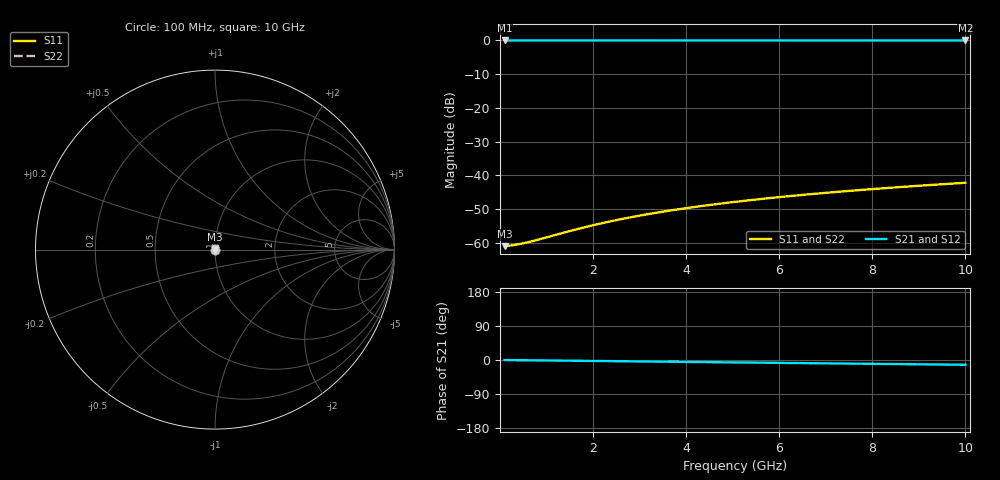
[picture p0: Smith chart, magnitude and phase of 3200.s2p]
# Hz S RI R 50.00
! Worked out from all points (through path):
!   100 points, 100 MHz to 10 GHz, reference 50 ohm
!   highest |S21| = -0.01 dB at 100 MHz (marker M1); lowest = 0.0 dB at 10 GHz (marker M2)
!   group delay of S21, straight-line fit = 3.51 ps
!   lowest |S11| = -61.0 dB at 100 MHz (marker M3), VSWR 1.00, Z = 50.1 + j0.00771 ohm
!   |S11| at or under -10 dB: start of sweep to end of sweep
!   |S22| runs from -61.0 to -42.2 dB; largest |S21 - S12| = 0
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1e8  0.000886 7.7e-05  0.9991 -0.00219  0.9991 -0.00219  0.000886 7.7e-05
2e8  0.000892 0.000154  0.9991 -0.00438  0.9991 -0.00438  0.000892 0.000154
3e8  0.000896 0.000231  0.9991 -0.00657  0.9991 -0.00657  0.000896 0.000231
4e8  0.0009 0.000308  0.9991 -0.00876  0.9991 -0.00876  0.0009 0.000308
6e8  0.000907 0.000462  0.999 -0.0131  0.999 -0.0131  0.000907 0.000462
8e8  0.000914 0.000615  0.9989 -0.0175  0.9989 -0.0175  0.000914 0.000615
1.4e9  0.000942 0.00107  0.9986 -0.0307  0.9986 -0.0307  0.000942 0.00107
1.8e9  0.000966 0.00138  0.9983 -0.0394  0.9983 -0.0394  0.000966 0.00138
2.2e9  0.000994 0.00168  0.9979 -0.0482  0.9979 -0.0482  0.000994 0.00168
2.6e9  0.00103 0.00199  0.9974 -0.0569  0.9974 -0.0569  0.00103 0.00199
3e9  0.00107 0.00229  0.9969 -0.0657  0.9969 -0.0657  0.00107 0.00229
3.4e9  0.00111 0.00259  0.9962 -0.0745  0.9962 -0.0745  0.00111 0.00259
3.8e9  0.00116 0.00288  0.9955 -0.0832  0.9955 -0.0832  0.00116 0.00288
4.2e9  0.00121 0.00318  0.9948 -0.092  0.9948 -0.092  0.00121 0.00318
4.6e9  0.00127 0.00348  0.9939 -0.1007  0.9939 -0.1007  0.00127 0.00348
5.1e9  0.00135 0.00384  0.9927 -0.1117  0.9927 -0.1117  0.00135 0.00384
5.9e9  0.0015 0.00442  0.9906 -0.1291  0.9906 -0.1291  0.0015 0.00442
6.7e9  0.00167 0.005  0.9881 -0.1466  0.9881 -0.1466  0.00167 0.005
7.5e9  0.00185 0.00557  0.9854 -0.164  0.9854 -0.164  0.00185 0.00557
8.4e9  0.00209 0.0062  0.9819 -0.1836  0.9819 -0.1836  0.00209 0.0062
9.2e9  0.00232 0.00676  0.9784 -0.201  0.9784 -0.201  0.00232 0.00676
1e10  0.00257 0.00731  0.9747 -0.2183  0.9747 -0.2183  0.00257 0.00731
